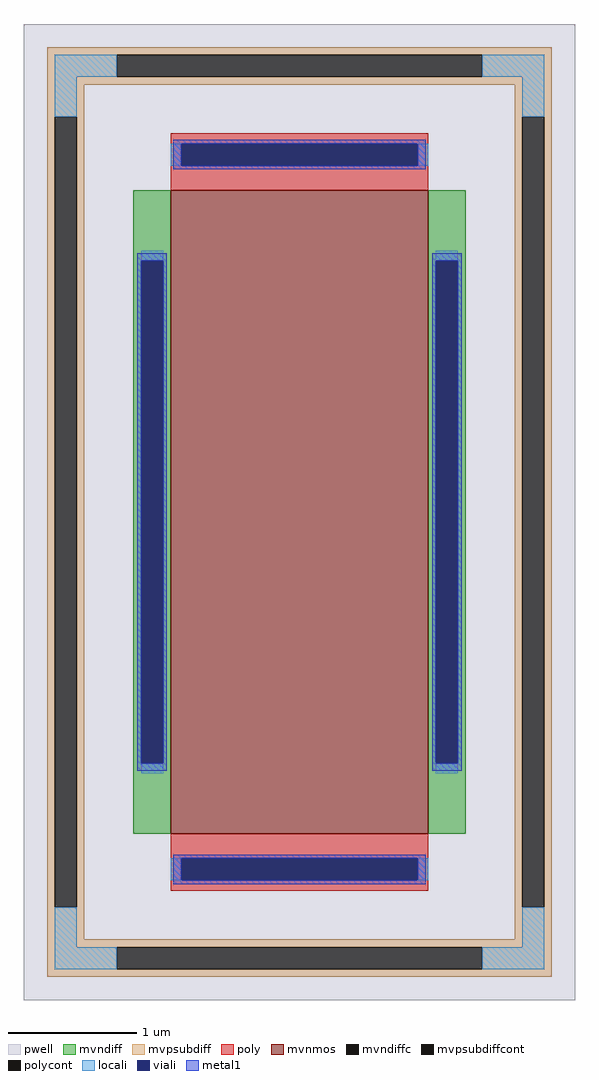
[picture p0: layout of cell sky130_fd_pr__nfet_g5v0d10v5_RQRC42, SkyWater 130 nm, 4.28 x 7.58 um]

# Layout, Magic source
magic
tech sky130A
<< pwell >>
rect -214 -379 214 379
<< mvnmos >>
rect -100 -250 100 250
<< mvndiff >>
rect -129 195 -100 250
rect -129 -195 -123 195
rect -106 -195 -100 195
rect -129 -250 -100 -195
rect 100 195 129 250
rect 100 -195 106 195
rect 123 -195 129 195
rect 100 -250 129 -195
<< mvndiffc >>
rect -123 -195 -106 195
rect 106 -195 123 195
<< mvpsubdiff >>
rect -196 355 196 361
rect -196 338 -142 355
rect 142 338 196 355
rect -196 332 196 338
rect -196 307 -167 332
rect -196 -307 -190 307
rect -173 -307 -167 307
rect 167 307 196 332
rect -196 -332 -167 -307
rect 167 -307 173 307
rect 190 -307 196 307
rect 167 -332 196 -307
rect -196 -338 196 -332
rect -196 -355 -142 -338
rect 142 -355 196 -338
rect -196 -361 196 -355
<< mvpsubdiffcont >>
rect -142 338 142 355
rect -190 -307 -173 307
rect 173 -307 190 307
rect -142 -355 142 -338
<< poly >>
rect -100 286 100 294
rect -100 269 -92 286
rect 92 269 100 286
rect -100 250 100 269
rect -100 -269 100 -250
rect -100 -286 -92 -269
rect 92 -286 100 -269
rect -100 -294 100 -286
<< polycont >>
rect -92 269 92 286
rect -92 -286 92 -269
<< locali >>
rect -190 338 -142 355
rect 142 338 190 355
rect -190 307 -173 338
rect 173 307 190 338
rect -100 269 -92 286
rect 92 269 100 286
rect -123 195 -106 203
rect -123 -203 -106 -195
rect 106 195 123 203
rect 106 -203 123 -195
rect -100 -286 -92 -269
rect 92 -286 100 -269
rect -190 -338 -173 -307
rect 173 -338 190 -307
rect -190 -355 -142 -338
rect 142 -355 190 -338
<< viali >>
rect -92 269 92 286
rect -123 -195 -106 195
rect 106 -195 123 195
rect -92 -286 92 -269
<< metal1 >>
rect -98 286 98 289
rect -98 269 -92 286
rect 92 269 98 286
rect -98 266 98 269
rect -126 195 -103 201
rect -126 -195 -123 195
rect -106 -195 -103 195
rect -126 -201 -103 -195
rect 103 195 126 201
rect 103 -195 106 195
rect 123 -195 126 195
rect 103 -201 126 -195
rect -98 -269 98 -266
rect -98 -286 -92 -269
rect 92 -286 98 -269
rect -98 -289 98 -286
<< properties >>
string FIXED_BBOX -181 -346 181 346
string gencell sky130_fd_pr__nfet_g5v0d10v5
string library sky130
string parameters w 5 l 2 m 1 nf 1 diffcov 80 polycov 100 guard 1 glc 1 grc 1 gtc 1 gbc 1 tbcov 100 rlcov 100 topc 1 botc 1 poverlap 0 doverlap 1 lmin 0.50 wmin 0.42 compatible {sky130_fd_pr__nfet_01v8 sky130_fd_pr__nfet_01v8_lvt  sky130_fd_bs_flash__special_sonosfet_star  sky130_fd_pr__nfet_g5v0d10v5 sky130_fd_pr__nfet_05v0_nvt  sky130_fd_pr__nfet_03v3_nvt} full_metal 1 viasrc 80 viadrn 80 viagate 100 viagb 0 viagr 0 viagl 0 viagt 0
<< end >>
